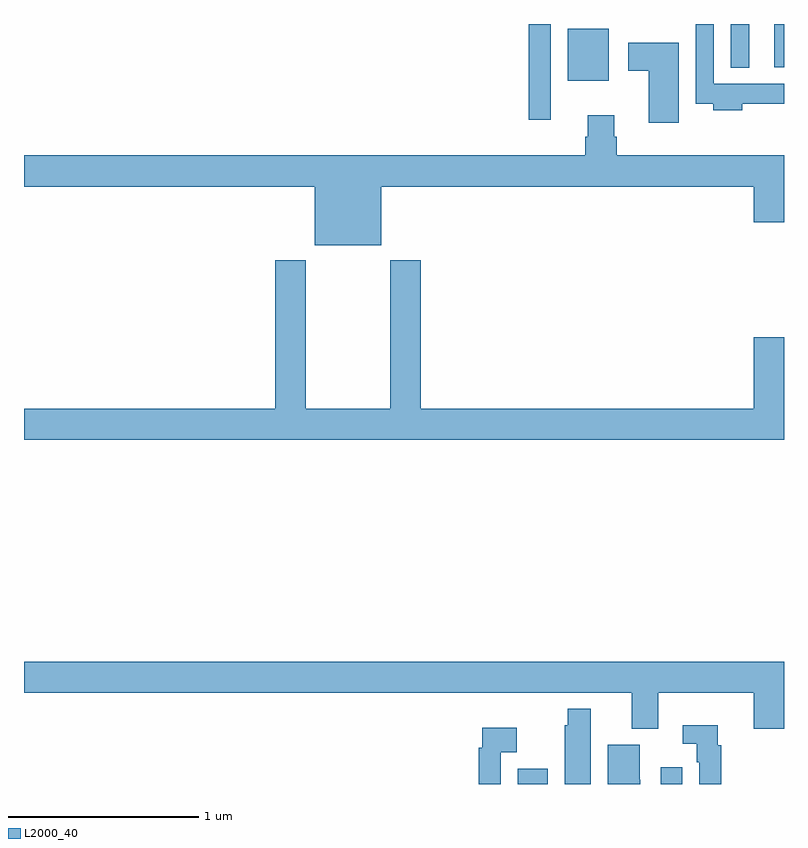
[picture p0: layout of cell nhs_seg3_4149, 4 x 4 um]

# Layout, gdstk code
import gdstk
lib = gdstk.Library(unit=1e-6, precision=1e-09)
def R(c, l, rs):  # rectangles x0, y0, x1, y1
    for r in rs: c.add(gdstk.rectangle(r[:2], r[2:], *l))
def P(c, l, *ps):  # polygons
    for p in ps: c.add(gdstk.Polygon(p, *l))
L2000_40 = (2000, 40)

nhs_seg3_4149 = lib.new_cell('nhs_seg3_4149')
R(nhs_seg3_4149, L2000_40, [(331.598,736.4,331.756,736.48), (332.352,736.4,332.464,736.489), (331.657,739.896,331.773,740.4), (331.862,740.102,332.077,740.374), (332.721,740.171,332.818,740.4), (332.948,740.172,333,740.4)])
P(nhs_seg3_4149, L2000_40, [(332.78,739.98),(333,739.98),(333,740.086),(332.631,740.086),(332.631,740.4),(332.535,740.4),(332.535,739.98),(332.627,739.98),(332.627,739.946),(332.78,739.946)],
  [(332.446,740.302),(332.181,740.302),(332.181,740.155),(332.288,740.155),(332.288,739.88),(332.446,739.88)],
  [(330.88,739.544),(332.84,739.544),(332.84,739.356),(333,739.356),(333,739.708),(332.12,739.708),(332.12,739.806),(332.107,739.806),(332.107,739.921),(331.967,739.921),(331.967,739.806),(331.955,739.806),(331.955,739.708),(329,739.708),(329,739.544),(330.53,739.544),(330.53,739.235),(330.88,739.235)],
  [(333,738.751),(332.84,738.751),(332.84,738.376),(331.088,738.376),(331.088,739.156),(330.928,739.156),(330.928,738.376),(330.483,738.376),(330.483,739.156),(330.323,739.156),(330.323,738.376),(329,738.376),(329,738.212),(333,738.212)],
  [(332.338,736.88),(332.84,736.88),(332.84,736.692),(333,736.692),(333,737.044),(329,737.044),(329,736.88),(332.198,736.88),(332.198,736.691),(332.338,736.691)],
  [(331.984,736.795),(331.862,736.795),(331.862,736.71),(331.847,736.71),(331.847,736.4),(331.984,736.4)],
  [(332.669,736.604),(332.651,736.604),(332.651,736.708),(332.466,736.708),(332.466,736.611),(332.541,736.611),(332.541,736.514),(332.553,736.514),(332.553,736.4),(332.669,736.4)],
  [(331.509,736.568),(331.594,736.568),(331.594,736.696),(331.413,736.696),(331.413,736.592),(331.393,736.592),(331.393,736.4),(331.509,736.4)],
  [(332.244,736.422),(332.242,736.422),(332.242,736.606),(332.072,736.606),(332.072,736.4),(332.244,736.4)])

lib.write_gds('nhs_seg3_4149.gds')
